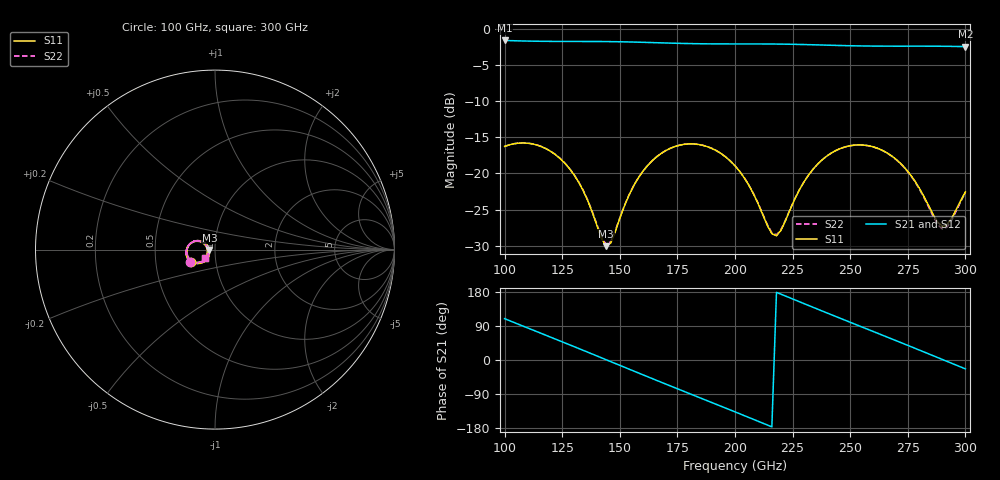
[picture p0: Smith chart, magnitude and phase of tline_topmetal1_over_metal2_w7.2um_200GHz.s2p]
#  GHZ S DB R 50
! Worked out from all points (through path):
!   101 points, 100 GHz to 300 GHz, reference 50 ohm
!   highest |S21| = -1.59 dB at 100 GHz (marker M1); lowest = -2.4 dB at 300 GHz (marker M2)
!   group delay of S21, straight-line fit = 6.84 ps
!   lowest |S11| = -30.1 dB at 144 GHz (marker M3), VSWR 1.06, Z = 47 - j0.163 ohm
!   |S11| at or under -10 dB: start of sweep to end of sweep
!   |S22| runs from -29.8 to -15.8 dB; largest |S21 - S12| = 9.4e-14
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100  -16.26 -152.3  -1.59 109.0  -1.59 109.0  -16.25 -152.9
108  -15.77 -169.1  -1.66 89.5  -1.66 89.5  -15.76 -169.5
116  -16.28 174.4  -1.70 70.0  -1.70 70.0  -16.27 174.2
126  -18.53 155.8  -1.72 45.5  -1.72 45.5  -18.50 155.8
134  -22.31 146.5  -1.72 25.8  -1.72 25.8  -22.25 146.6
144  -30.06 -176.8  -1.74 0.9  -1.74 0.9  -29.80 -177.3
146  -29.67 -156.7  -1.75 -4.1  -1.75 -4.1  -29.44 -157.8
158  -20.63 -131.9  -1.82 -34.0  -1.82 -34.0  -20.62 -132.7
168  -17.22 -147.4  -1.92 -58.7  -1.92 -58.7  -17.21 -147.9
176  -16.08 -162.5  -1.99 -78.3  -1.99 -78.3  -16.08 -163.0
184  -15.98 -178.0  -2.04 -97.8  -2.04 -97.8  -15.97 -178.4
200  -18.94 154.2  -2.07 -136.9  -2.07 -136.9  -18.92 154.0
210  -24.17 149.8  -2.07 -161.5  -2.07 -161.5  -24.11 149.8
218  -28.63 -169.4  -2.08 178.6  -2.08 178.6  -28.48 -170.1
226  -23.51 -135.6  -2.12 158.6  -2.12 158.6  -23.47 -136.6
234  -19.36 -139.5  -2.19 138.8  -2.19 138.8  -19.36 -140.3
244  -16.79 -155.1  -2.27 114.2  -2.27 114.2  -16.79 -155.8
252  -16.07 -169.5  -2.33 94.7  -2.33 94.7  -16.08 -170.3
268  -17.57 162.5  -2.38 55.7  -2.38 55.7  -17.60 161.6
280  -22.03 151.3  -2.38 26.2  -2.38 26.2  -22.15 149.9
290  -27.30 -177.1  -2.39 1.4  -2.39 1.4  -27.69 -177.4
300  -22.54 -139.8  -2.44 -23.4  -2.44 -23.4  -22.65 -138.9
